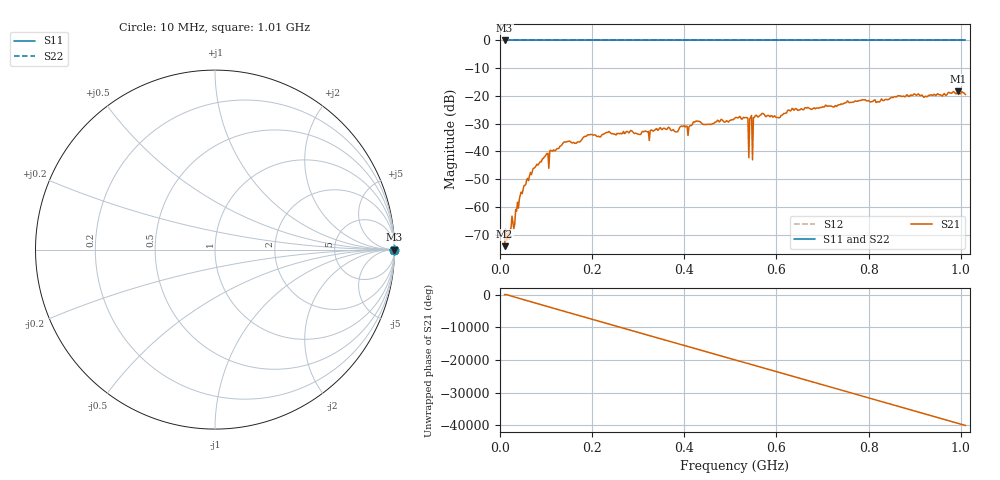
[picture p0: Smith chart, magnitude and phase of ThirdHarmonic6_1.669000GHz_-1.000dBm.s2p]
! 8/16/2025 8:00:52 PM
! C:\ANRITSUVNA\TEMP\TEMP.S2P
! CHANNEL.1
! TR.MEASUREMENT
! RAW.DATA
! RF.CORRECTION.OFF
! AVERAGING.OFF
! IF.BANDWIDTH: 5KHZ
! SWEEPTYPE:  FREQ.SWEEP(Linear)
! Reference Plane Port Info
! PORT:  PORT1  PORT2
! DISTANCE:  0  m  0  m
! TIME:  0  s  0  s
! PHASE.OFFSET:  0  deg.  0  deg.
! LOSS:  0  dB  0  dB
! REF.LOSS:  0  dB  0  dB
! REF.FREQ:  0  Hz  0  Hz
! Power Info
! POWER:  -20  dBm  -20  dBm
! EFF.POWER:  -20  dBm  -20  dBm
! SOURCE.ATTEN:  0  dB  0  dB
! TEST.ATTEN:  0  dB  0  dB
# GHZ S RI R 50.0
! FREQ.GHZ  S11RE  S11IM  S21RE  S21IM  S12RE  S12IM  S22RE  S22IM
!; PortSelection: Port_12
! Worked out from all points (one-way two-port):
!   501 points, 10 MHz to 1.01 GHz, reference 50 ohm
!   highest |S21| = -18.39 dB at 994 MHz (marker M1); lowest = -74.1 dB at 10 MHz (marker M2)
!   lowest |S11| = 0.0 dB at 10 MHz (marker M3)
!   |S11| at or under -10 dB: nowhere
!   |S22| runs from 0.0 to 0.0 dB; largest |S21 - S12| = 1.1
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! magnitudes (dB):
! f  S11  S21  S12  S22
! 10 MHz  0.0  -74.1  0.0  0.0
! 32 MHz  0.0  -66.1  0.0  0.0
! 48 MHz  0.0  -55.2  0.0  0.0
! 76 MHz  0.0  -45.7  0.0  0.0
! 140 MHz  0.0  -36.5  0.0  0.0
! 178 MHz  0.0  -35.6  0.0  0.0
! 344 MHz  0.0  -32.2  0.0  0.0
! 382 MHz  0.0  -32.9  0.0  0.0
! 424 MHz  0.0  -29.2  0.0  0.0
! 510 MHz  0.0  -28.0  0.0  0.0
! 534 MHz  0.0  -27.8  0.0  0.0
! 536 MHz  0.0  -27.8  0.0  0.0
! 542 MHz  0.0  -28.4  0.0  0.0
! 544 MHz  0.0  -27.6  0.0  0.0
! 546 MHz  0.0  -27.0  0.0  0.0
! 552 MHz  0.0  -27.7  0.0  0.0
! 554 MHz  0.0  -27.1  0.0  0.0
! 604 MHz  0.0  -27.8  0.0  0.0
! 678 MHz  0.0  -24.7  0.0  0.0
! 844 MHz  0.0  -21.2  0.0  0.0
! 994 MHz  0.0  -18.4  0.0  0.0
! 1.01 GHz  0.0  -19.5  0.0  0.0
